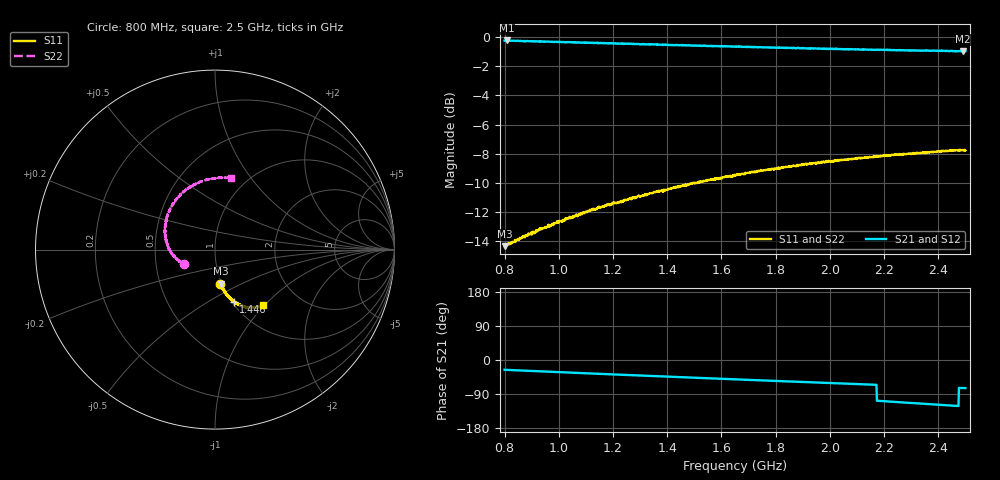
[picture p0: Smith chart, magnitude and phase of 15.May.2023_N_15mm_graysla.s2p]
!Keysight Technologies N9950B: A.12.38
!Date: Monday, 15 May 2023 15:27:48
!Timezone: (UTC-06:00) Central Time (US & Canada)
!Model: N9950B
!Serial: MY61131330
!GPS Latitude:
!GPS Longitude:
!GPS TimeStamp: 0001-01-01 00:00:00Z
!GPS Seconds Since Last Read: 0
!CHECKSUM:1554276445
!Correction: S11(ON U)S21(ON U)S12(ON U)S22(ON U)
!S2P File: Measurements:S11,S21,S12,S22:
# Hz S DB R 50
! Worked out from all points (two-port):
!   1001 points, 800 MHz to 2.5 GHz, reference 50 ohm
!   highest |S21| = -0.23 dB at 808.5 MHz (marker M1); lowest = -1.0 dB at 2.491 GHz (marker M2)
!   |S21| within 3 dB of the highest: start of sweep to end of sweep
!   lowest |S11| = -14.3 dB at 801.7 MHz (marker M3), VSWR 1.47, Z = 49.4 - j19.4 ohm
!   |S11| at or under -10 dB: start of sweep to 1.497 GHz; 1.50004 GHz to 1.50432 GHz (4.28 MHz wide, 0.285 % of centre); 1.506999 GHz to 1.511116 GHz (4.117 MHz wide, 0.273 % of centre)
!   |S22| runs from -14.4 to -7.8 dB; largest |S21 - S12| = 0.0052
!   S11 on the Smith chart (normalised r, x): 800 MHz: 0.98, -0.39; 1.446 GHz: 1.02, -0.65; 2.5 GHz: 1.32, -0.98
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8e8  -14.34 -81.4  -0.25 -25.8  -0.27 -25.9  -14.36 -155.8
8.017e8  -14.34 -80.8  -0.24 -25.9  -0.25 -25.9  -14.41 -155.1
8.085e8  -14.19 -80.7  -0.23 -26.1  -0.25 -26.2  -14.26 -156.1
9.241e8  -13.23 -78.8  -0.30 -29.6  -0.29 -29.7  -13.33 -164.7
1.0244e9  -12.42 -77.6  -0.34 -32.7  -0.35 -32.8  -12.49 -172.6
1.0839e9  -12.16 -76.3  -0.39 -34.4  -0.40 -34.5  -12.18 -177.4
1.1791e9  -11.51 -75.1  -0.43 -37.4  -0.44 -37.3  -11.51 175.7
1.3678e9  -10.62 -71.4  -0.53 -43.0  -0.52 -43.0  -10.64 161.8
1.446e9  -10.23 -70.2  -0.55 -45.3  -0.56 -45.1  -10.32 155.3
1.5565e9  -9.78 -68.1  -0.62 -48.4  -0.60 -48.4  -9.85 147.2
1.65e9  -9.51 -66.4  -0.67 -51.0  -0.67 -51.0  -9.59 140.1
1.7673e9  -9.10 -64.4  -0.71 -54.3  -0.71 -54.4  -9.16 131.3
1.9339e9  -8.65 -60.7  -0.77 -59.0  -0.79 -58.8  -8.76 119.3
2.0376e9  -8.43 -58.8  -0.82 -61.8  -0.83 -61.7  -8.47 111.4
2.1634e9  -8.16 -56.2  -0.88 -65.2  -0.88 -65.3  -8.28 102.0
2.1821e9  -8.19 -55.7  -0.87 -108.0  -0.89 -108.0  -8.23 100.8
2.2178e9  -8.10 -55.0  -0.89 -109.6  -0.89 -109.6  -8.17 98.2
2.3555e9  -7.92 -52.1  -0.95 -116.0  -0.95 -115.9  -7.97 88.1
2.466e9  -7.77 -49.8  -0.98 -121.0  -0.96 -121.1  -7.82 80.0
2.4847e9  -7.76 -49.2  -0.98 -73.8  -0.96 -73.9  -7.81 78.3
2.4915e9  -7.75 -49.2  -0.99 -73.9  -0.99 -74.0  -7.84 77.9
2.5e9  -7.78 -49.2  -0.97 -74.2  -0.98 -74.3  -7.79 77.5
